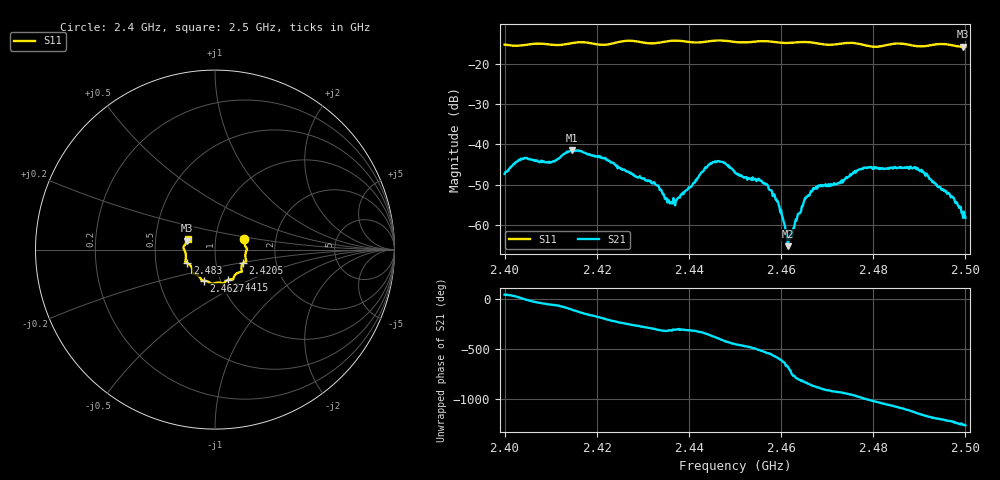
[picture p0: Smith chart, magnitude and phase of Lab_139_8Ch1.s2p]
# Hz S RI R 50
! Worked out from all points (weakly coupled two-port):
!   601 points, 2.4 GHz to 2.5 GHz, reference 50 ohm
!   highest |S21| = -41.42 dB at 2.4147 GHz (marker M1); lowest = -65.3 dB at 2.4615 GHz (marker M2)
!   lowest |S11| = -15.8 dB at 2.4995 GHz (marker M3), VSWR 1.39, Z = 36.4 + j3.79 ohm
!   |S11| at or under -10 dB: start of sweep to end of sweep
!   S12 and S22 are empty: the file has one direction only
!   S11 on the Smith chart (normalised r, x): 2.4 GHz: 1.38, +0.16; 2.4205 GHz: 1.35, -0.21; 2.4415 GHz: 1.09, -0.38; 2.4627 GHz: 0.84, -0.30; 2.483 GHz: 0.73, -0.11; 2.5 GHz: 0.73, +0.09
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2.4e9  0.1635 0.0574  0.00316 0.00291  0 0  0 0
2.404e9  0.1693 0.0183  0.00657 6.42e-05  0 0  0 0
2.410333e9  0.1717 -0.0133  0.00313 -0.00522  0 0  0 0
2.414667e9  0.1725 -0.0551  -0.00261 -0.00808  0 0  0 0
2.416667e9  0.1744 -0.0635  -0.00612 -0.00547  0 0  0 0
2.4205e9  0.1561 -0.0758  -0.0069 0.000279  0 0  0 0
2.433333e9  0.1074 -0.1471  0.00195 0.00239  0 0  0 0
2.4365e9  0.1022 -0.1645  0.00112 0.00159  0 0  0 0
2.4415e9  0.0734 -0.1686  0.00283 0.00227  0 0  0 0
2.445667e9  0.0487 -0.188  0.00576 -0.00215  0 0  0 0
2.45e9  0.0301 -0.1844  -0.000135 -0.00444  0 0  0 0
2.457333e9  -0.0206 -0.189  -0.00276 0.000176  0 0  0 0
2.4595e9  -0.0341 -0.1807  -0.00101 0.00144  0 0  0 0
2.4615e9  -0.0512 -0.1742  0.000395 0.000373  0 0  0 0
2.462667e9  -0.0609 -0.173  0.000597 -0.000692  0 0  0 0
2.466667e9  -0.0768 -0.1673  -0.00207 -0.00155  0 0  0 0
2.477667e9  -0.1261 -0.119  -4.5e-05 0.00501  0 0  0 0
2.483e9  -0.1542 -0.0753  0.00455 0.00209  0 0  0 0
2.483333e9  -0.1566 -0.0741  0.00473 0.0019  0 0  0 0
2.49e9  -0.1624 -0.03  0.0017 -0.00449  0 0  0 0
2.4995e9  -0.1547 0.0506  -0.00122 -6.4e-05  0 0  0 0
2.5e9  -0.1529 0.0572  -0.00122 7.78e-05  0 0  0 0
